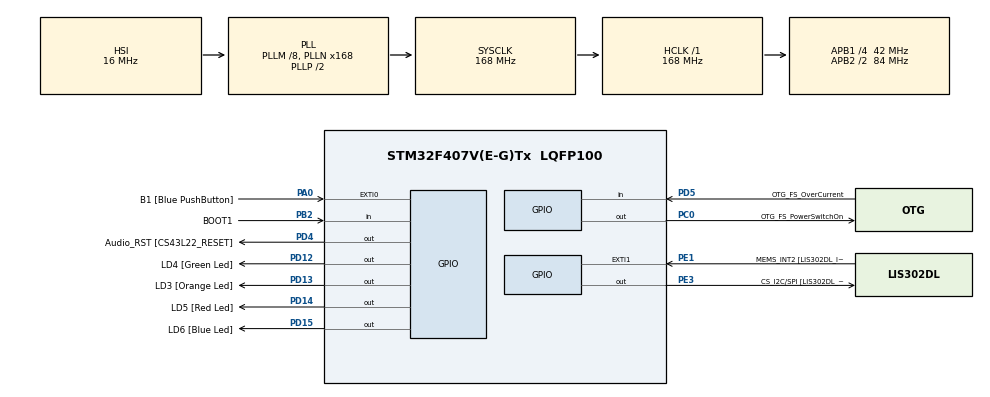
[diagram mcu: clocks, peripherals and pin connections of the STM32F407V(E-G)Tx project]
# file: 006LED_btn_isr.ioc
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FREERTOS.Tasks01=defaultTask,24,128,StartDefaultTask,Default,NULL,Dynamic,NULL,NULL
Mcu.Family=STM32F4
Mcu.Name=STM32F407V(E-G)Tx
Mcu.Package=LQFP100
NVIC.EXTI0_IRQn=true\:6\:0\:true\:false\:true\:true\:true\:true\:true
NVIC.PriorityGroup=NVIC_PRIORITYGROUP_4
NVIC.TIM4_IRQn=true\:0\:0\:false\:false\:true\:false\:false\:true\:true
NVIC.TimeBase=TIM4_IRQn
NVIC.TimeBaseIP=TIM4
PA0-WKUP.GPIO_Label=B1 [Blue PushButton]
PA0-WKUP.GPIO_ModeDefaultEXTI=GPIO_MODE_IT_FALLING
PA0-WKUP.Signal=GPXTI0
PA10.GPIO_Label=OTG_FS_ID
PA10.GPIO_Mode=GPIO_MODE_AF_PP
PA10.GPIO_PuPd=GPIO_NOPULL
PA10.GPIO_Speed=GPIO_SPEED_FREQ_LOW
PA10.Signal=USB_OTG_FS_ID
PA11.GPIO_Label=OTG_FS_DM
PA11.GPIO_Mode=GPIO_MODE_AF_PP
PA11.GPIO_PuPd=GPIO_NOPULL
PA11.GPIO_Speed=GPIO_SPEED_FREQ_LOW
PA11.Signal=USB_OTG_FS_DM
PA12.GPIO_Label=OTG_FS_DP
PA12.GPIO_Mode=GPIO_MODE_AF_PP
PA12.GPIO_PuPd=GPIO_NOPULL
PA12.GPIO_Speed=GPIO_SPEED_FREQ_LOW
PA12.Signal=USB_OTG_FS_DP
PA13.GPIO_Label=SWDIO
PA13.Signal=SYS_JTMS-SWDIO
PA14.GPIO_Label=SWCLK
PA14.Signal=SYS_JTCK-SWCLK
PA4.GPIO_Label=I2S3_WS [CS43L22_LRCK]
PA4.GPIO_Mode=GPIO_MODE_AF_PP
PA4.GPIO_PuPd=GPIO_NOPULL
PA4.GPIO_Speed=GPIO_SPEED_FREQ_LOW
PA4.Signal=I2S3_WS
PA5.GPIO_Label=SPI1_SCK [LIS302DL_SCL/SPC]
PA5.GPIO_Mode=GPIO_MODE_AF_PP
PA5.GPIO_PuPd=GPIO_NOPULL
PA5.GPIO_Speed=GPIO_SPEED_FREQ_LOW
PA5.Signal=SPI1_SCK
PA6.GPIO_Label=SPI1_MISO [LIS302DL_SDO]
PA6.GPIO_Mode=GPIO_MODE_AF_PP
PA6.GPIO_PuPd=GPIO_NOPULL
PA6.GPIO_Speed=GPIO_SPEED_FREQ_LOW
PA6.Signal=SPI1_MISO
PA7.GPIO_Label=SPI1_MOSI [LIS302DL_SDA/SDI/SDO]
PA7.GPIO_Mode=GPIO_MODE_AF_PP
PA7.GPIO_PuPd=GPIO_NOPULL
PA7.GPIO_Speed=GPIO_SPEED_FREQ_LOW
PA7.Signal=SPI1_MOSI
PA9.GPIO_Label=VBUS_FS
PA9.GPIO_Mode=GPIO_MODE_INPUT
PA9.GPIO_PuPd=GPIO_NOPULL
PA9.Signal=USB_OTG_FS_VBUS
PB10.GPIO_Label=CLK_IN [MP45DT02_CLK]
PB10.GPIO_Mode=GPIO_MODE_AF_PP
PB10.GPIO_PuPd=GPIO_NOPULL
PB10.GPIO_Speed=GPIO_SPEED_FREQ_LOW
PB10.Signal=I2S2_CK
PB2.GPIO_Label=BOOT1
PB2.GPIO_Mode=GPIO_MODE_INPUT
PB2.GPIO_PuPd=GPIO_NOPULL
PB2.Signal=GPIO_Input
PB3.GPIO_Label=SWO
PB3.Signal=SYS_JTDO-SWO
PB6.GPIO_Label=Audio_SCL [CS43L22_SCL]
PB6.GPIO_Mode=GPIO_MODE_AF_OD
PB6.GPIO_PuPd=GPIO_NOPULL
PB6.GPIO_Speed=GPIO_SPEED_FREQ_LOW
PB6.Signal=I2C1_SCL
PB9.GPIO_Label=Audio_SDA [CS43L22_SDA]
PB9.GPIO_Mode=GPIO_MODE_AF_OD
PB9.GPIO_PuPd=GPIO_NOPULL
PB9.GPIO_Speed=GPIO_SPEED_FREQ_LOW
PB9.Signal=I2C1_SDA
PC0.GPIO_Label=OTG_FS_PowerSwitchOn
PC0.GPIO_PuPd=GPIO_NOPULL
PC0.GPIO_Speed=GPIO_SPEED_FREQ_LOW
PC0.PinState=GPIO_PIN_SET
PC0.Signal=GPIO_Output
PC10.GPIO_Label=I2S3_SCK [CS43L22_SCLK]
PC10.GPIO_Mode=GPIO_MODE_AF_PP
PC10.GPIO_PuPd=GPIO_NOPULL
PC10.GPIO_Speed=GPIO_SPEED_FREQ_LOW
PC10.Signal=I2S3_CK
PC12.GPIO_Label=I2S3_SD [CS43L22_SDIN]
PC12.GPIO_Mode=GPIO_MODE_AF_PP
PC12.GPIO_PuPd=GPIO_NOPULL
PC12.GPIO_Speed=GPIO_SPEED_FREQ_LOW
PC12.Signal=I2S3_SD
PC14-OSC32_IN.GPIO_Label=PC14-OSC32_IN
PC14-OSC32_IN.Signal=RCC_OSC32_IN
PC15-OSC32_OUT.GPIO_Label=PC15-OSC32_OUT
PC15-OSC32_OUT.Signal=RCC_OSC32_OUT
PC3.GPIO_Label=PDM_OUT [MP45DT02_DOUT]
PC3.GPIO_Mode=GPIO_MODE_AF_PP
PC3.GPIO_PuPd=GPIO_NOPULL
PC3.GPIO_Speed=GPIO_SPEED_FREQ_LOW
PC3.Signal=I2S2_SD
PC7.GPIO_Label=I2S3_MCK [CS43L22_MCLK]
PC7.GPIO_Mode=GPIO_MODE_AF_PP
PC7.GPIO_PuPd=GPIO_NOPULL
PC7.GPIO_Speed=GPIO_SPEED_FREQ_LOW
PC7.Signal=I2S3_MCK
PD12.GPIO_Label=LD4 [Green Led]
PD12.GPIO_PuPd=GPIO_NOPULL
PD12.GPIO_Speed=GPIO_SPEED_FREQ_LOW
PD12.Signal=GPIO_Output
PD13.GPIO_Label=LD3 [Orange Led]
PD13.GPIO_PuPd=GPIO_NOPULL
PD13.GPIO_Speed=GPIO_SPEED_FREQ_LOW
PD13.Signal=GPIO_Output
PD14.GPIO_Label=LD5 [Red Led]
PD14.GPIO_PuPd=GPIO_NOPULL
PD14.GPIO_Speed=GPIO_SPEED_FREQ_LOW
PD14.Signal=GPIO_Output
PD15.GPIO_Label=LD6 [Blue Led]
PD15.GPIO_PuPd=GPIO_NOPULL
PD15.GPIO_Speed=GPIO_SPEED_FREQ_LOW
PD15.Signal=GPIO_Output
PD4.GPIO_Label=Audio_RST [CS43L22_RESET]
PD4.GPIO_PuPd=GPIO_NOPULL
PD4.GPIO_Speed=GPIO_SPEED_FREQ_LOW
PD4.Signal=GPIO_Output
PD5.GPIO_Label=OTG_FS_OverCurrent
PD5.GPIO_Mode=GPIO_MODE_INPUT
PD5.GPIO_PuPd=GPIO_NOPULL
PD5.Signal=GPIO_Input
PE1.GPIO_Label=MEMS_INT2 [LIS302DL_INT2]
PE1.GPIO_ModeDefaultEXTI=GPIO_MODE_EVT_RISING
PE1.GPIO_PuPd=GPIO_NOPULL
PE1.Signal=GPXTI1
PE3.GPIO_Label=CS_I2C/SPI [LIS302DL_CS_I2C/SPI]
PE3.GPIO_PuPd=GPIO_NOPULL
PE3.GPIO_Speed=GPIO_SPEED_FREQ_LOW
PE3.Signal=GPIO_Output
PH0-OSC_IN.GPIO_Label=PH0-OSC_IN
PH0-OSC_IN.Signal=RCC_OSC_IN
PH1-OSC_OUT.GPIO_Label=PH1-OSC_OUT
PH1-OSC_OUT.Signal=RCC_OSC_OUT
ProjectManager.HeapSize=0x200
ProjectManager.StackSize=0x400
ProjectManager.TargetToolchain=STM32CubeIDE
RCC.48MHZClocksFreq_Value=48000000
RCC.AHBFreq_Value=168000000
RCC.APB1CLKDivider=RCC_HCLK_DIV4
RCC.APB1Freq_Value=42000000
RCC.APB1TimFreq_Value=84000000
RCC.APB2CLKDivider=RCC_HCLK_DIV2
RCC.APB2Freq_Value=84000000
RCC.APB2TimFreq_Value=168000000
RCC.CortexFreq_Value=168000000
RCC.HCLKFreq_Value=168000000
RCC.HSE_VALUE=8000000
RCC.HSI_VALUE=16000000
RCC.LSE_VALUE=32768
RCC.PLLM=8
RCC.PLLN=168
RCC.PLLQ=7
RCC.SYSCLKFreq_VALUE=168000000
RCC.SYSCLKSource=RCC_SYSCLKSOURCE_PLLCLK
RCC.VCOOutputFreq_Value=336000000
VP_FREERTOS_VS_CMSIS_V2.Mode=CMSIS_V2
VP_SYS_VS_tim4.Mode=TIM4
board=STM32F407G-DISC1

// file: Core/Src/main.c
/* USER CODE BEGIN Header */
/**
  ******************************************************************************
  * @file           : main.c
  * @brief          : Main program body
  ******************************************************************************
  * @attention
  *
  * Copyright (c) 2025 STMicroelectronics.
  * All rights reserved.
  *
  * This software is licensed under terms that can be found in the LICENSE file
  * in the root directory of this software component.
  * If no LICENSE file comes with this software, it is provided AS-IS.
  *
  ******************************************************************************
  */
/* USER CODE END Header */
#include "main.h"
#include "cmsis_os.h"

/* USER CODE BEGIN Includes */
#include <stdio.h>
#include <FreeRTOS.h>
#include <task.h>
#include <stdint.h>

/* USER CODE END Includes */

/* Definitions for defaultTask */
osThreadId_t defaultTaskHandle;
const osThreadAttr_t defaultTask_attributes = {
  .name = "defaultTask",
  .stack_size = 128 * 4,
  .priority = (osPriority_t) osPriorityNormal,
};
/* USER CODE BEGIN PV */
#define DWT_CTRL	(*(volatile uint32_t*)0xE0001000)
/* USER CODE END PV */

void SystemClock_Config(void);
static void MX_GPIO_Init(void);
void StartDefaultTask(void *argument);

/* USER CODE BEGIN PFP */

static void led_green_handler(void* parameters);
static void led_red_handler(void* parameters);
static void led_orange_handler(void* parameters);

extern void SEGGER_UART_init(uint32_t);

TaskHandle_t ledg_task_handle;
TaskHandle_t ledo_task_handle;
TaskHandle_t ledr_task_handle;
TaskHandle_t btn_task_handle;

TaskHandle_t volatile next_task_handle = NULL;

/* USER CODE END PFP */

int main(void)
{

  /* USER CODE BEGIN 1 */

	BaseType_t status;

  /* USER CODE END 1 */

  /* MCU Configuration--------------------------------------------------------*/

  /* Reset of all peripherals, Initializes the Flash interface and the Systick. */
  HAL_Init();

  /* Configure the system clock */
  SystemClock_Config();

  /* Initialize all configured peripherals */
  MX_GPIO_Init();
  /* USER CODE BEGIN 2 */

  SEGGER_UART_init(250000);

  //Enable the CYCCNT counter
  DWT_CTRL |= (1 << 0);

  SEGGER_SYSVIEW_Conf();

  status = xTaskCreate(led_green_handler, "LED_Green_Task", 200, NULL, 3, &ledg_task_handle);

  configASSERT(status = pdPASS);

  next_task_handle = ledg_task_handle;

  status = xTaskCreate(led_red_handler, "LED_Red_Task", 200, NULL, 2, &ledr_task_handle);

  configASSERT(status = pdPASS);

  status = xTaskCreate(led_orange_handler, "LED_Orange_Task", 200, NULL, 1, &ledo_task_handle);

  configASSERT(status = pdPASS);

  // start the freeRTOS scheduler
  vTaskStartScheduler();

  //if the control comes here then the launch of the scheduleer has failed due to insufficient memory in
  // the heap

  /* USER CODE END 2 */

  /* Init scheduler */
  osKernelInitialize();

  /* Create the thread(s) */
  /* creation of defaultTask */
  defaultTaskHandle = osThreadNew(StartDefaultTask, NULL, &defaultTask_attributes);

  /* Start scheduler */
  osKernelStart();

  /* We should never get here as control is now taken by the scheduler */

  /* Infinite loop */
  while (1)
  {

  }
}

void SystemClock_Config(void)
{
  RCC_OscInitTypeDef RCC_OscInitStruct = {0};
  RCC_ClkInitTypeDef RCC_ClkInitStruct = {0};

  /** Configure the main internal regulator output voltage
  */
  __HAL_RCC_PWR_CLK_ENABLE();
  __HAL_PWR_VOLTAGESCALING_CONFIG(PWR_REGULATOR_VOLTAGE_SCALE1);

  /** Initializes the RCC Oscillators according to the specified parameters
  * in the RCC_OscInitTypeDef structure.
  */
  RCC_OscInitStruct.OscillatorType = RCC_OSCILLATORTYPE_HSI;
  RCC_OscInitStruct.HSIState = RCC_HSI_ON;
  RCC_OscInitStruct.HSICalibrationValue = RCC_HSICALIBRATION_DEFAULT;
  RCC_OscInitStruct.PLL.PLLState = RCC_PLL_ON;
  RCC_OscInitStruct.PLL.PLLSource = RCC_PLLSOURCE_HSI;
  RCC_OscInitStruct.PLL.PLLM = 8;
  RCC_OscInitStruct.PLL.PLLN = 168;
  RCC_OscInitStruct.PLL.PLLP = RCC_PLLP_DIV2;
  RCC_OscInitStruct.PLL.PLLQ = 7;
  if (HAL_RCC_OscConfig(&RCC_OscInitStruct) != HAL_OK)
  {
    Error_Handler();
  }

  /** Initializes the CPU, AHB and APB buses clocks
  */
  RCC_ClkInitStruct.ClockType = RCC_CLOCKTYPE_HCLK|RCC_CLOCKTYPE_SYSCLK
                              |RCC_CLOCKTYPE_PCLK1|RCC_CLOCKTYPE_PCLK2;
  RCC_ClkInitStruct.SYSCLKSource = RCC_SYSCLKSOURCE_PLLCLK;
  RCC_ClkInitStruct.AHBCLKDivider = RCC_SYSCLK_DIV1;
  RCC_ClkInitStruct.APB1CLKDivider = RCC_HCLK_DIV4;
  RCC_ClkInitStruct.APB2CLKDivider = RCC_HCLK_DIV2;

  if (HAL_RCC_ClockConfig(&RCC_ClkInitStruct, FLASH_LATENCY_5) != HAL_OK)
  {
    Error_Handler();
  }
}

static void MX_GPIO_Init(void)
{
  GPIO_InitTypeDef GPIO_InitStruct = {0};

  /* GPIO Ports Clock Enable */
  __HAL_RCC_GPIOE_CLK_ENABLE();
  __HAL_RCC_GPIOC_CLK_ENABLE();
  __HAL_RCC_GPIOH_CLK_ENABLE();
  __HAL_RCC_GPIOA_CLK_ENABLE();
  __HAL_RCC_GPIOB_CLK_ENABLE();
  __HAL_RCC_GPIOD_CLK_ENABLE();

  /*Configure GPIO pin Output Level */
  HAL_GPIO_WritePin(CS_I2C_SPI_GPIO_Port, CS_I2C_SPI_Pin, GPIO_PIN_RESET);

  /*Configure GPIO pin Output Level */
  HAL_GPIO_WritePin(OTG_FS_PowerSwitchOn_GPIO_Port, OTG_FS_PowerSwitchOn_Pin, GPIO_PIN_SET);

  /*Configure GPIO pin Output Level */
  HAL_GPIO_WritePin(GPIOD, LD4_Pin|LD3_Pin|LD5_Pin|LD6_Pin
                          |Audio_RST_Pin, GPIO_PIN_RESET);

  /*Configure GPIO pin : CS_I2C_SPI_Pin */
  GPIO_InitStruct.Pin = CS_I2C_SPI_Pin;
  GPIO_InitStruct.Mode = GPIO_MODE_OUTPUT_PP;
  GPIO_InitStruct.Pull = GPIO_NOPULL;
  GPIO_InitStruct.Speed = GPIO_SPEED_FREQ_LOW;
  HAL_GPIO_Init(CS_I2C_SPI_GPIO_Port, &GPIO_InitStruct);

  /*Configure GPIO pin : OTG_FS_PowerSwitchOn_Pin */
  GPIO_InitStruct.Pin = OTG_FS_PowerSwitchOn_Pin;
  GPIO_InitStruct.Mode = GPIO_MODE_OUTPUT_PP;
  GPIO_InitStruct.Pull = GPIO_NOPULL;
  GPIO_InitStruct.Speed = GPIO_SPEED_FREQ_LOW;
  HAL_GPIO_Init(OTG_FS_PowerSwitchOn_GPIO_Port, &GPIO_InitStruct);

  /*Configure GPIO pin : PDM_OUT_Pin */
  GPIO_InitStruct.Pin = PDM_OUT_Pin;
  GPIO_InitStruct.Mode = GPIO_MODE_AF_PP;
  GPIO_InitStruct.Pull = GPIO_NOPULL;
  GPIO_InitStruct.Speed = GPIO_SPEED_FREQ_LOW;
  GPIO_InitStruct.Alternate = GPIO_AF5_SPI2;
  HAL_GPIO_Init(PDM_OUT_GPIO_Port, &GPIO_InitStruct);

  /*Configure GPIO pin : B1_Pin */
  GPIO_InitStruct.Pin = B1_Pin;
  GPIO_InitStruct.Mode = GPIO_MODE_IT_FALLING;
  GPIO_InitStruct.Pull = GPIO_NOPULL;
  HAL_GPIO_Init(B1_GPIO_Port, &GPIO_InitStruct);

  /*Configure GPIO pin : I2S3_WS_Pin */
  GPIO_InitStruct.Pin = I2S3_WS_Pin;
  GPIO_InitStruct.Mode = GPIO_MODE_AF_PP;
  GPIO_InitStruct.Pull = GPIO_NOPULL;
  GPIO_InitStruct.Speed = GPIO_SPEED_FREQ_LOW;
  GPIO_InitStruct.Alternate = GPIO_AF6_SPI3;
  HAL_GPIO_Init(I2S3_WS_GPIO_Port, &GPIO_InitStruct);

  /*Configure GPIO pins : SPI1_SCK_Pin SPI1_MISO_Pin SPI1_MOSI_Pin */
  GPIO_InitStruct.Pin = SPI1_SCK_Pin|SPI1_MISO_Pin|SPI1_MOSI_Pin;
  GPIO_InitStruct.Mode = GPIO_MODE_AF_PP;
  GPIO_InitStruct.Pull = GPIO_NOPULL;
  GPIO_InitStruct.Speed = GPIO_SPEED_FREQ_LOW;
  GPIO_InitStruct.Alternate = GPIO_AF5_SPI1;
  HAL_GPIO_Init(GPIOA, &GPIO_InitStruct);

  /*Configure GPIO pin : BOOT1_Pin */
  GPIO_InitStruct.Pin = BOOT1_Pin;
  GPIO_InitStruct.Mode = GPIO_MODE_INPUT;
  GPIO_InitStruct.Pull = GPIO_NOPULL;
  HAL_GPIO_Init(BOOT1_GPIO_Port, &GPIO_InitStruct);

  /*Configure GPIO pin : CLK_IN_Pin */
  GPIO_InitStruct.Pin = CLK_IN_Pin;
  GPIO_InitStruct.Mode = GPIO_MODE_AF_PP;
  GPIO_InitStruct.Pull = GPIO_NOPULL;
  GPIO_InitStruct.Speed = GPIO_SPEED_FREQ_LOW;
  GPIO_InitStruct.Alternate = GPIO_AF5_SPI2;
  HAL_GPIO_Init(CLK_IN_GPIO_Port, &GPIO_InitStruct);

  /*Configure GPIO pins : LD4_Pin LD3_Pin LD5_Pin LD6_Pin
                           Audio_RST_Pin */
  GPIO_InitStruct.Pin = LD4_Pin|LD3_Pin|LD5_Pin|LD6_Pin
                          |Audio_RST_Pin;
  GPIO_InitStruct.Mode = GPIO_MODE_OUTPUT_PP;
  GPIO_InitStruct.Pull = GPIO_NOPULL;
  GPIO_InitStruct.Speed = GPIO_SPEED_FREQ_LOW;
  HAL_GPIO_Init(GPIOD, &GPIO_InitStruct);

  /*Configure GPIO pins : I2S3_MCK_Pin I2S3_SCK_Pin I2S3_SD_Pin */
  GPIO_InitStruct.Pin = I2S3_MCK_Pin|I2S3_SCK_Pin|I2S3_SD_Pin;
  GPIO_InitStruct.Mode = GPIO_MODE_AF_PP;
  GPIO_InitStruct.Pull = GPIO_NOPULL;
  GPIO_InitStruct.Speed = GPIO_SPEED_FREQ_LOW;
  GPIO_InitStruct.Alternate = GPIO_AF6_SPI3;
  HAL_GPIO_Init(GPIOC, &GPIO_InitStruct);

  /*Configure GPIO pin : VBUS_FS_Pin */
  GPIO_InitStruct.Pin = VBUS_FS_Pin;
  GPIO_InitStruct.Mode = GPIO_MODE_INPUT;
  GPIO_InitStruct.Pull = GPIO_NOPULL;
  HAL_GPIO_Init(VBUS_FS_GPIO_Port, &GPIO_InitStruct);

  /*Configure GPIO pins : OTG_FS_ID_Pin OTG_FS_DM_Pin OTG_FS_DP_Pin */
  GPIO_InitStruct.Pin = OTG_FS_ID_Pin|OTG_FS_DM_Pin|OTG_FS_DP_Pin;
  GPIO_InitStruct.Mode = GPIO_MODE_AF_PP;
  GPIO_InitStruct.Pull = GPIO_NOPULL;
  GPIO_InitStruct.Speed = GPIO_SPEED_FREQ_LOW;
  GPIO_InitStruct.Alternate = GPIO_AF10_OTG_FS;
  HAL_GPIO_Init(GPIOA, &GPIO_InitStruct);

  /*Configure GPIO pin : OTG_FS_OverCurrent_Pin */
  GPIO_InitStruct.Pin = OTG_FS_OverCurrent_Pin;
  GPIO_InitStruct.Mode = GPIO_MODE_INPUT;
  GPIO_InitStruct.Pull = GPIO_NOPULL;
  HAL_GPIO_Init(OTG_FS_OverCurrent_GPIO_Port, &GPIO_InitStruct);

  /*Configure GPIO pins : Audio_SCL_Pin Audio_SDA_Pin */
  GPIO_InitStruct.Pin = Audio_SCL_Pin|Audio_SDA_Pin;
  GPIO_InitStruct.Mode = GPIO_MODE_AF_OD;
  GPIO_InitStruct.Pull = GPIO_NOPULL;
  GPIO_InitStruct.Speed = GPIO_SPEED_FREQ_LOW;
  GPIO_InitStruct.Alternate = GPIO_AF4_I2C1;
  HAL_GPIO_Init(GPIOB, &GPIO_InitStruct);

  /*Configure GPIO pin : MEMS_INT2_Pin */
  GPIO_InitStruct.Pin = MEMS_INT2_Pin;
  GPIO_InitStruct.Mode = GPIO_MODE_EVT_RISING;
  GPIO_InitStruct.Pull = GPIO_NOPULL;
  HAL_GPIO_Init(MEMS_INT2_GPIO_Port, &GPIO_InitStruct);

  /* EXTI interrupt init*/
  HAL_NVIC_SetPriority(EXTI0_IRQn, 6, 0);
  HAL_NVIC_EnableIRQ(EXTI0_IRQn);

}

/* USER CODE BEGIN 4 */

extern void button_interrupt_hanlder(void)
{
	BaseType_t pxHigherPriorityTaskWoken;

	pxHigherPriorityTaskWoken = pdFALSE;

	traceISR_ENTER();
	xTaskNotifyFromISR(next_task_handle,0,eNoAction,&pxHigherPriorityTaskWoken);

	portYIELD_FROM_ISR(pxHigherPriorityTaskWoken);

	traceISR_EXIT();
}

static void led_green_handler(void* parameters)
{

	BaseType_t status;

	while(1)
	{
		SEGGER_SYSVIEW_PrintfTarget("Toggling green LED");
		HAL_GPIO_TogglePin(GPIOD, LD4_Pin);
		status = xTaskNotifyWait(0, 0, NULL, pdMS_TO_TICKS(1000));

		if(status == pdTRUE)
		{
			portENTER_CRITICAL();
			next_task_handle = ledo_task_handle;
			HAL_GPIO_WritePin(GPIOD, LD4_Pin, GPIO_PIN_SET);
			SEGGER_SYSVIEW_PrintfTarget("suspend green LED task");
			portEXIT_CRITICAL();
			vTaskSuspend(NULL);
		}

	}

}

static void led_red_handler(void* parameters)
{
	BaseType_t status;

	while(1)
	{
		SEGGER_SYSVIEW_PrintfTarget("Toggling red LED");
		HAL_GPIO_TogglePin(GPIOD, LD5_Pin);
		status = xTaskNotifyWait(0, 0, NULL, pdMS_TO_TICKS(400));

		if(status == pdTRUE)
		{
			vTaskSuspendAll();
			next_task_handle = ledg_task_handle;
			xTaskResumeAll();
			HAL_GPIO_WritePin(GPIOD, LD5_Pin, GPIO_PIN_SET);
			SEGGER_SYSVIEW_PrintfTarget("suspend red LED task");
			vTaskSuspend(NULL);
		}

	}

}

static void led_orange_handler(void* parameters)
{
	BaseType_t status;

	while(1)
	{
		SEGGER_SYSVIEW_PrintfTarget("Toggling orange LED");
		HAL_GPIO_TogglePin(GPIOD, LD3_Pin);
		status = xTaskNotifyWait(0, 0, NULL, pdMS_TO_TICKS(800));

		if(status == pdTRUE)
		{
			vTaskSuspendAll();
			next_task_handle = ledr_task_handle;
			xTaskResumeAll();
			HAL_GPIO_WritePin(GPIOD, LD3_Pin, GPIO_PIN_SET);
			SEGGER_SYSVIEW_PrintfTarget("suspend orange LED task");
			vTaskSuspend(NULL);
		}
	}

}

/* USER CODE END 4 */

void StartDefaultTask(void *argument)
{
  for(;;)
  {
    osDelay(1);
  }
}

void HAL_TIM_PeriodElapsedCallback(TIM_HandleTypeDef *htim)
{
  if (htim->Instance == TIM4)
  {
    HAL_IncTick();
  }
}

void Error_Handler(void)
{
  __disable_irq();
  while (1)
  {
  }
}
